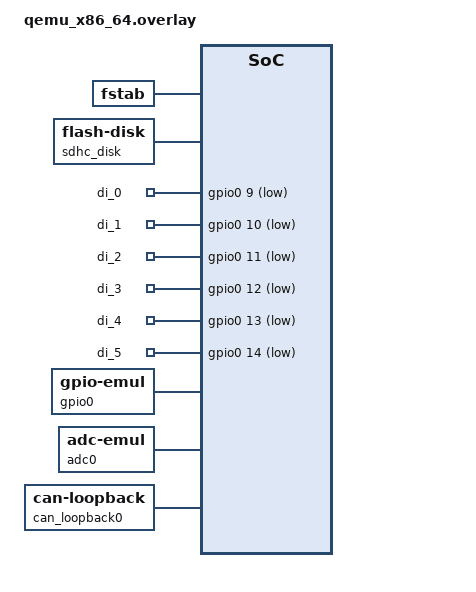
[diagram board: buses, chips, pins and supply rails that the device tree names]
#include <zephyr/dt-bindings/gpio/gpio.h>

/ {
	aliases {
		intfs0 = &intfs0;
        adc0 = &adc_emul;
		sdhc0 = &sdhc_disk;
		gpioc = &gpioc;
		can0 = &can_loopback0;
	};

	fstab {
		compatible = "zephyr,fstab";
		intfs0: intfs0 {
			compatible = "zephyr,fstab,littlefs";
			read-size = <16>;
			prog-size = <16>;
			cache-size = <64>;
			lookahead-size = <32>;
			block-cycles = <512>;
			partition = <&intfs0_partition>;
			mount-point = "/intfs0";
			automount;
		};
	};

	sdhc_disk: storage_disk {
		compatible = "zephyr,flash-disk";
		partition = <&sdhc_partition>;
		disk-name = "SD";
		cache-size = <4096>;
	};

	gpioc: gpioc {
		compatible = "gpio-keys";

		di_0: di_0 {
			gpios = < &gpio0 9 (GPIO_PULL_UP | GPIO_ACTIVE_LOW) >;
		};

		di_1: di_1 {
			gpios = < &gpio0 10 (GPIO_PULL_UP | GPIO_ACTIVE_LOW) >;
		};

		di_2: di_2 {
			gpios = < &gpio0 11 (GPIO_PULL_UP | GPIO_ACTIVE_LOW) >;
		};

		di_3: di_3 {
			gpios = < &gpio0 12 (GPIO_PULL_UP | GPIO_ACTIVE_LOW) >;
		};

		di_4: di_4 {
			gpios = < &gpio0 13 (GPIO_PULL_UP | GPIO_ACTIVE_LOW) >;
		};

		di_5: di_5 {
			gpios = < &gpio0 14 (GPIO_PULL_UP | GPIO_ACTIVE_LOW) >;
		};
	};

	gpio0: gpio_emul {
		status = "okay";
		compatible = "zephyr,gpio-emul";
		rising-edge;
		falling-edge;
		high-level;
		low-level;
		gpio-controller;
		#gpio-cells = <2>;
	};

    adc0: adc_emul: adc {
		compatible = "zephyr,adc-emul";
		nchannels = < 0x4 >;
		#io-channel-cells = < 0x1 >;
		status = "okay";
		ref-internal-mv = < 0xce4 >;
		ref-external1-mv = < 0x1388 >;
		#address-cells = < 0x1 >;
		#size-cells = < 0x0 >;
		channel@0 {
			reg = < 0x0 >;
			zephyr,gain = "ADC_GAIN_1";
			zephyr,reference = "ADC_REF_INTERNAL";
			zephyr,vref-mv = < 0xce4 >;
			zephyr,acquisition-time = < 0x0 >;
			zephyr,resolution = < 0xc >;
		};
		channel@1 {
			reg = < 0x1 >;
			zephyr,gain = "ADC_GAIN_1";
			zephyr,reference = "ADC_REF_INTERNAL";
			zephyr,vref-mv = < 0xce4 >;
			zephyr,acquisition-time = < 0x0 >;
			zephyr,resolution = < 0xc >;
		};
		channel@2 {
			reg = < 0x2 >;
			zephyr,gain = "ADC_GAIN_1";
			zephyr,reference = "ADC_REF_INTERNAL";
			zephyr,vref-mv = < 0xce4 >;
			zephyr,acquisition-time = < 0x0 >;
			zephyr,resolution = < 0xc >;
		};
		channel@3 {
			reg = < 0x3 >;
			zephyr,gain = "ADC_GAIN_1";
			zephyr,reference = "ADC_REF_INTERNAL";
			zephyr,vref-mv = < 0xce4 >;
			zephyr,acquisition-time = < 0x0 >;
			zephyr,resolution = < 0xc >;
		};
	};

	can_loopback0: can_loopback0 {
		status = "okay";
		compatible = "zephyr,can-loopback";
	};
};

&flash_sim0 {
	partitions {
		compatible = "fixed-partitions";
		#address-cells = <1>;
		#size-cells = <1>;

		intfs0_partition: partition@1000 {
			label = "intfs0_storage";
			reg = <0x00001000 DT_SIZE_M(1)>;  // 0x00001000 offset, 1MB size
			phandle = <0x3>;
		};

		sdhc_partition: partition@101000 {
			label = "sdhc_storage";
			reg = <0x00101000 DT_SIZE_M(10)>;  // 0x00101000 offset, 10MB size
			phandle = <0x4>;
		};
	};
};
